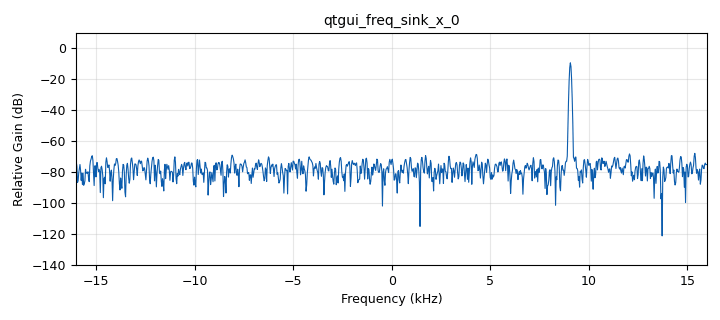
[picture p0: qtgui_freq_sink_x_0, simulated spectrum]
options:
  parameters:
    author: stefanosperett
    category: ecss
    generate_options: qt_gui
    id: carrier_sweep
    output_language: python
    title: Carrier Sweep
  states: {}

blocks:
- name: frequency
  id: variable
  parameters:
    value: '2000'
  states: {}
- name: modulation_coeff
  id: variable
  parameters:
    value: '0.1'
  states: {}
- name: snr
  id: variable
  parameters:
    value: '20'
  states: {}
- name: subcarrier
  id: variable
  parameters:
    value: '16000'
  states: {}
- name: sweep_range
  id: variable
  parameters:
    value: '8000'
  states: {}
- name: sweep_rate
  id: variable
  parameters:
    value: '2000'
  states: {}
- name: analog_noise_source_x_0
  id: analog_noise_source_x
  parameters:
    amp: 10**(-snr/10)
    noise_type: analog.GR_GAUSSIAN
    seed: '0'
    type: complex
  states: {}
- name: analog_phase_modulator_fc_0
  id: analog_phase_modulator_fc
  parameters:
    sensitivity: '1'
  states: {}
- name: analog_sig_source_x_2_0
  id: analog_sig_source_x
  parameters:
    amp: modulation_coeff
    freq: subcarrier
    offset: '0'
    phase: '0'
    samp_rate: samp_rate
    type: float
    waveform: analog.GR_SIN_WAVE
  states: {}
- name: analog_sig_source_x_2_1
  id: analog_sig_source_x
  parameters:
    amp: 2*3.14159265359*sweep_range
    freq: 0 if sweep_range == 0 else sweep_rate/sweep_range
    offset: 2*3.14159265359*frequency
    phase: '-3.14159265359'
    samp_rate: samp_rate
    type: float
    waveform: analog.GR_TRI_WAVE
  states: {}
- name: blocks_add_xx_1
  id: blocks_add_xx
  parameters:
    type: complex
  states: {}
- name: blocks_multiply_xx_0
  id: blocks_multiply_xx
  parameters:
    type: complex
  states: {}
- name: blocks_throttle_0_0
  id: blocks_throttle
  parameters:
    samples_per_second: samp_rate
    type: float
  states: {}
- name: blocks_vco_c_0
  id: blocks_vco_c
  parameters:
    amplitude: '1'
    samp_rate: samp_rate
    sensitivity: '1'
  states: {}
- name: qtgui_freq_sink_x_0
  id: qtgui_freq_sink_x
  parameters:
    bw: samp_rate
    fc: '0'
    fftsize: '1024'
    legend: 'False'
    type: complex
    wintype: firdes.WIN_BLACKMAN_hARRIS
  states: {}
- name: samp_rate
  id: parameter
  parameters:
    label: Sample Rate (sps)
    type: intx
    value: '32000'
  states: {}

connections:
- [analog_noise_source_x_0, '0', blocks_add_xx_1, '1']
- [analog_phase_modulator_fc_0, '0', blocks_multiply_xx_0, '0']
- [analog_sig_source_x_2_0, '0', blocks_throttle_0_0, '0']
- [analog_sig_source_x_2_1, '0', blocks_vco_c_0, '0']
- [blocks_add_xx_1, '0', qtgui_freq_sink_x_0, '0']
- [blocks_multiply_xx_0, '0', blocks_add_xx_1, '0']
- [blocks_throttle_0_0, '0', analog_phase_modulator_fc_0, '0']
- [blocks_vco_c_0, '0', blocks_multiply_xx_0, '1']

metadata:
  file_format: 1
